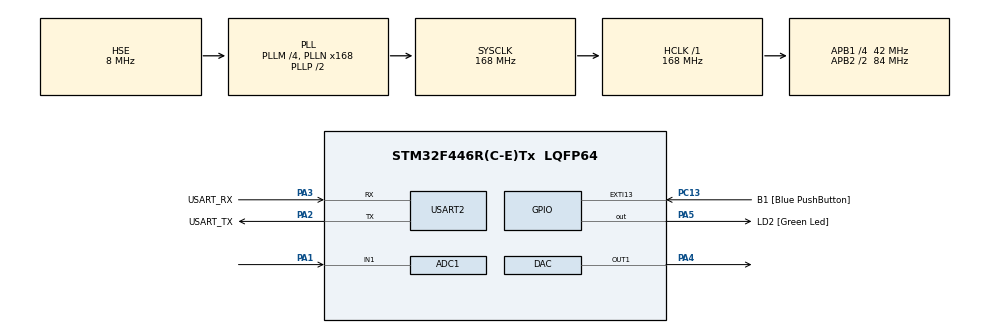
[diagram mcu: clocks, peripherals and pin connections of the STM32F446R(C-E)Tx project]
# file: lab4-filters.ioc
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ADC1.Channel-0\#ChannelRegularConversion=ADC_CHANNEL_1
ADC1.DMAContinuousRequests=ENABLE
ADC1.ExternalTrigConv=ADC_EXTERNALTRIGCONV_T3_TRGO
ADC1.NbrOfConversionFlag=1
ADC1.Rank-0\#ChannelRegularConversion=1
ADC1.SamplingTime-0\#ChannelRegularConversion=ADC_SAMPLETIME_3CYCLES
ADC1.master=1
DAC.DAC_Trigger=DAC_TRIGGER_T2_TRGO
Dma.ADC1.0.Direction=DMA_PERIPH_TO_MEMORY
Dma.ADC1.0.FIFOMode=DMA_FIFOMODE_DISABLE
Dma.ADC1.0.Instance=DMA2_Stream0
Dma.ADC1.0.MemDataAlignment=DMA_MDATAALIGN_HALFWORD
Dma.ADC1.0.MemInc=DMA_MINC_ENABLE
Dma.ADC1.0.Mode=DMA_CIRCULAR
Dma.ADC1.0.PeriphDataAlignment=DMA_PDATAALIGN_HALFWORD
Dma.ADC1.0.PeriphInc=DMA_PINC_DISABLE
Dma.ADC1.0.Priority=DMA_PRIORITY_LOW
Dma.Request0=ADC1
Mcu.Family=STM32F4
Mcu.Name=STM32F446R(C-E)Tx
Mcu.Package=LQFP64
NVIC.ADC_IRQn=true\:0\:0\:false\:false\:true\:true\:true\:true
NVIC.DMA2_Stream0_IRQn=true\:0\:0\:false\:false\:true\:false\:true\:true
NVIC.PriorityGroup=NVIC_PRIORITYGROUP_0
NVIC.TIM2_IRQn=true\:0\:0\:false\:false\:true\:true\:true\:true
NVIC.TIM3_IRQn=true\:0\:0\:false\:false\:true\:true\:true\:true
PA1.Signal=ADCx_IN1
PA13.GPIO_Label=TMS
PA13.Mode=Serial_Wire
PA13.Signal=SYS_JTMS-SWDIO
PA14.GPIO_Label=TCK
PA14.Mode=Serial_Wire
PA14.Signal=SYS_JTCK-SWCLK
PA2.GPIO_Label=USART_TX
PA2.Mode=Asynchronous
PA2.Signal=USART2_TX
PA3.GPIO_Label=USART_RX
PA3.Mode=Asynchronous
PA3.Signal=USART2_RX
PA4.Signal=COMP_DAC1_group
PA5.GPIO_Label=LD2 [Green Led]
PA5.Signal=GPIO_Output
PB3.GPIO_Label=SWO
PB3.Signal=SYS_JTDO-SWO
PC13.GPIO_Label=B1 [Blue PushButton]
PC13.GPIO_ModeDefaultEXTI=GPIO_MODE_IT_FALLING
PC13.Signal=GPXTI13
PC14-OSC32_IN.Mode=LSE-External-Oscillator
PC14-OSC32_IN.Signal=RCC_OSC32_IN
PC15-OSC32_OUT.Mode=LSE-External-Oscillator
PC15-OSC32_OUT.Signal=RCC_OSC32_OUT
PH0-OSC_IN.Mode=HSE-External-Oscillator
PH0-OSC_IN.Signal=RCC_OSC_IN
PH1-OSC_OUT.Mode=HSE-External-Oscillator
PH1-OSC_OUT.Signal=RCC_OSC_OUT
ProjectManager.HeapSize=0x200
ProjectManager.StackSize=0x400
ProjectManager.TargetToolchain=EWARM V8.50
RCC.48MHZClocksFreq_Value=84000000
RCC.AHBFreq_Value=168000000
RCC.APB1CLKDivider=RCC_HCLK_DIV4
RCC.APB1Freq_Value=42000000
RCC.APB1TimFreq_Value=84000000
RCC.APB2CLKDivider=RCC_HCLK_DIV2
RCC.APB2Freq_Value=84000000
RCC.APB2TimFreq_Value=168000000
RCC.CortexFreq_Value=168000000
RCC.FLatency-AdvancedSettings=FLASH_LATENCY_5
RCC.HCLKFreq_Value=168000000
RCC.HSE_VALUE=8000000
RCC.HSI_VALUE=16000000
RCC.PLLM=4
RCC.PLLN=168
RCC.PLLSourceVirtual=RCC_PLLSOURCE_HSE
RCC.SYSCLKFreq_VALUE=168000000
RCC.SYSCLKSource=RCC_SYSCLKSOURCE_PLLCLK
RCC.USBFreq_Value=168000000
RCC.VCOOutputFreq_Value=336000000
SH.ADCx_IN1.0=ADC1_IN1,IN1
SH.COMP_DAC1_group.0=DAC_OUT1,DAC_OUT1
TIM2.AutoReloadPreload=TIM_AUTORELOAD_PRELOAD_ENABLE
TIM2.Period=9
TIM2.Prescaler=83
TIM2.TIM_MasterOutputTrigger=TIM_TRGO_UPDATE
TIM3.AutoReloadPreload=TIM_AUTORELOAD_PRELOAD_ENABLE
TIM3.Period=4
TIM3.Prescaler=20
TIM3.TIM_MasterOutputTrigger=TIM_TRGO_UPDATE
USART2.VirtualMode=VM_ASYNC
VP_TIM2_VS_ClockSourceINT.Mode=Internal
VP_TIM3_VS_ClockSourceINT.Mode=Internal
board=NUCLEO-F446RE

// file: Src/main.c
/* USER CODE BEGIN Header */
/**
  ******************************************************************************
  * @file           : main.c
  * @brief          : Main program body
  ******************************************************************************
  * @attention
  *
  * Copyright (c) 2024 STMicroelectronics.
  * All rights reserved.
  *
  * This software is licensed under terms that can be found in the LICENSE file
  * in the root directory of this software component.
  * If no LICENSE file comes with this software, it is provided AS-IS.
  *
  ******************************************************************************
  */
/* USER CODE END Header */
#include "main.h"
#include "adc.h"
#include "dac.h"
#include "dma.h"
#include "tim.h"
#include "usart.h"
#include "gpio.h"

/* USER CODE BEGIN PD */

// defines for lowpass

#define NZEROS_LP 3
#define NPOLES_LP 3
#define GAIN_LP 4.553605266e+003

#define NZEROS_BP 4
#define NPOLES_BP 4
#define GAIN_BP 1.273742597e+002

/* USER CODE END PD */

/* USER CODE BEGIN PV */
uint16_t adcBuf[256];
uint16_t buf[16];
static float xv[NZEROS_BP+1] = {0,0,0,0,0};
static float yv[NPOLES_BP+1] = {0,0,0,0,0};
/* USER CODE END PV */

void SystemClock_Config(void);

/* USER CODE BEGIN 0 */

// website for generating code for different filters:
// http://www.piclist.com/techref/uk/ac/york/cs/www-users/http/~fisher/mkfilter/trad.html

static float filter_lowpass(uint16_t input)
{
  xv[0] = xv[1]; xv[1] = xv[2]; xv[2] = xv[3];
  xv[3] = input / GAIN_LP;
  yv[0] = yv[1]; yv[1] = yv[2]; yv[2] = yv[3];
  yv[3] =   (xv[0] + xv[3]) + 3 * (xv[1] + xv[2])
            + (  0.7776385602 * yv[0]) + ( -2.5282312191 * yv[1])
            + (  2.7488358092 * yv[2]);

  return yv[3];
}

static float filter_bandpass(uint16_t input)
{
  xv[0] = xv[1]; xv[1] = xv[2]; xv[2] = xv[3]; xv[3] = xv[4];
  xv[4] = input / GAIN_BP;
  yv[0] = yv[1]; yv[1] = yv[2]; yv[2] = yv[3]; yv[3] = yv[4];
  yv[4] =   (xv[0] + xv[4]) - 2 * xv[2]
                + ( -0.7660066009 * yv[0]) + (  3.2409032364 * yv[1])
                + ( -5.1803044554 * yv[2]) + (  3.7051888565 * yv[3]);

  // + 2048*16 is for correcting the 1.5V offset on the sin generator
  return yv[4] + 2048*16;
}

void HAL_ADC_ConvCpltCallback(ADC_HandleTypeDef* hadc)
{
	static uint8_t index = 0;
	adcBuf[index] = 0;
	for(uint8_t i=0; i<16; i++)
		adcBuf[index] += buf[i];

	HAL_DAC_SetValue(&hdac, DAC_CHANNEL_1, DAC_ALIGN_12B_L, filter_bandpass(adcBuf[index++]));
}

/* USER CODE END 0 */

int main(void)
{

  /* MCU Configuration--------------------------------------------------------*/

  /* Reset of all peripherals, Initializes the Flash interface and the Systick. */
  HAL_Init();

  /* Configure the system clock */
  SystemClock_Config();

  /* Initialize all configured peripherals */
  MX_GPIO_Init();
  MX_DMA_Init();
  MX_TIM2_Init();
  MX_TIM3_Init();
  MX_USART2_UART_Init();
  MX_ADC1_Init();
  MX_DAC_Init();
  /* USER CODE BEGIN 2 */

  HAL_ADC_Start_DMA(&hadc1, (uint32_t*)buf, 16);
  HAL_TIM_Base_Start_IT(&htim3);
  HAL_TIM_Base_Start_IT(&htim2);
  HAL_DAC_Start(&hdac, DAC_CHANNEL_1);

  /* USER CODE END 2 */

  /* Infinite loop */
  /* USER CODE BEGIN WHILE */
  while (1)
  {
    HAL_GPIO_TogglePin(LD2_GPIO_Port, LD2_Pin);
    HAL_Delay(500);
    /* USER CODE END WHILE */

  }
}

void SystemClock_Config(void)
{
  RCC_OscInitTypeDef RCC_OscInitStruct = {0};
  RCC_ClkInitTypeDef RCC_ClkInitStruct = {0};

  /** Configure the main internal regulator output voltage
  */
  __HAL_RCC_PWR_CLK_ENABLE();
  __HAL_PWR_VOLTAGESCALING_CONFIG(PWR_REGULATOR_VOLTAGE_SCALE1);

  /** Initializes the RCC Oscillators according to the specified parameters
  * in the RCC_OscInitTypeDef structure.
  */
  RCC_OscInitStruct.OscillatorType = RCC_OSCILLATORTYPE_HSE;
  RCC_OscInitStruct.HSEState = RCC_HSE_ON;
  RCC_OscInitStruct.PLL.PLLState = RCC_PLL_ON;
  RCC_OscInitStruct.PLL.PLLSource = RCC_PLLSOURCE_HSE;
  RCC_OscInitStruct.PLL.PLLM = 4;
  RCC_OscInitStruct.PLL.PLLN = 168;
  RCC_OscInitStruct.PLL.PLLP = RCC_PLLP_DIV2;
  RCC_OscInitStruct.PLL.PLLQ = 2;
  RCC_OscInitStruct.PLL.PLLR = 2;
  if (HAL_RCC_OscConfig(&RCC_OscInitStruct) != HAL_OK)
  {
    Error_Handler();
  }

  /** Initializes the CPU, AHB and APB buses clocks
  */
  RCC_ClkInitStruct.ClockType = RCC_CLOCKTYPE_HCLK|RCC_CLOCKTYPE_SYSCLK
                              |RCC_CLOCKTYPE_PCLK1|RCC_CLOCKTYPE_PCLK2;
  RCC_ClkInitStruct.SYSCLKSource = RCC_SYSCLKSOURCE_PLLCLK;
  RCC_ClkInitStruct.AHBCLKDivider = RCC_SYSCLK_DIV1;
  RCC_ClkInitStruct.APB1CLKDivider = RCC_HCLK_DIV4;
  RCC_ClkInitStruct.APB2CLKDivider = RCC_HCLK_DIV2;

  if (HAL_RCC_ClockConfig(&RCC_ClkInitStruct, FLASH_LATENCY_5) != HAL_OK)
  {
    Error_Handler();
  }
}

void Error_Handler(void)
{
  __disable_irq();
  while (1)
  {
  }
}
